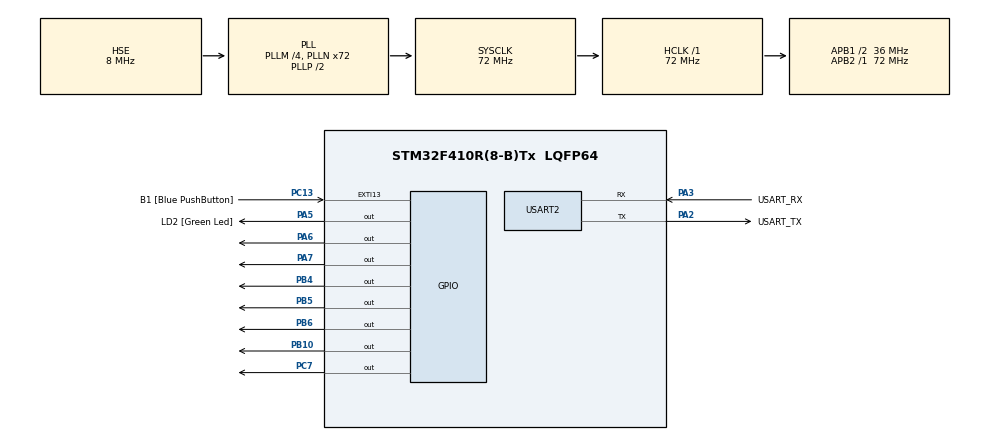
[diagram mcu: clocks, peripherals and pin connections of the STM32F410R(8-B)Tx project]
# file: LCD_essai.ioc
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Mcu.Family=STM32F4
Mcu.Name=STM32F410R(8-B)Tx
Mcu.Package=LQFP64
NVIC.EXTI15_10_IRQn=true\:0\:0\:false\:false\:true\:true\:true
NVIC.PriorityGroup=NVIC_PRIORITYGROUP_0
NVIC.TIM5_IRQn=true\:0\:0\:false\:false\:true\:true\:true
PA13.GPIO_Label=TMS
PA13.Mode=Serial_Wire
PA13.Signal=SYS_JTMS-SWDIO
PA14.GPIO_Label=TCK
PA14.Mode=Serial_Wire
PA14.Signal=SYS_JTCK-SWCLK
PA2.GPIO_Label=USART_TX
PA2.Mode=Asynchronous
PA2.Signal=USART2_TX
PA3.GPIO_Label=USART_RX
PA3.Mode=Asynchronous
PA3.Signal=USART2_RX
PA5.GPIO_Label=LD2 [Green Led]
PA5.Signal=GPIO_Output
PA6.PinState=GPIO_PIN_RESET
PA6.Signal=GPIO_Output
PA7.PinState=GPIO_PIN_RESET
PA7.Signal=GPIO_Output
PB10.PinState=GPIO_PIN_RESET
PB10.Signal=GPIO_Output
PB3.GPIO_Label=SWO
PB3.Signal=SYS_JTDO-SWO
PB4.PinState=GPIO_PIN_RESET
PB4.Signal=GPIO_Output
PB5.PinState=GPIO_PIN_RESET
PB5.Signal=GPIO_Output
PB6.PinState=GPIO_PIN_RESET
PB6.Signal=GPIO_Output
PC13-ANTI_TAMP.GPIO_Label=B1 [Blue PushButton]
PC13-ANTI_TAMP.GPIO_ModeDefaultEXTI=GPIO_MODE_IT_FALLING
PC13-ANTI_TAMP.Signal=GPXTI13
PC14-OSC32_IN.Mode=LSE-External-Oscillator
PC14-OSC32_IN.Signal=RCC_OSC32_IN
PC15-OSC32_OUT.Mode=LSE-External-Oscillator
PC15-OSC32_OUT.Signal=RCC_OSC32_OUT
PC7.PinState=GPIO_PIN_RESET
PC7.Signal=GPIO_Output
PH0\ -\ OSC_IN.Mode=HSE-External-Clock-Source
PH0\ -\ OSC_IN.Signal=RCC_OSC_IN
PH1\ -\ OSC_OUT.Mode=HSE-External-Clock-Source
PH1\ -\ OSC_OUT.Signal=RCC_OSC_OUT
ProjectManager.HeapSize=0x200
ProjectManager.StackSize=0x400
ProjectManager.TargetToolchain=MDK-ARM V5
RCC.48MHZClocksFreq_Value=36000000
RCC.AHBFreq_Value=72000000
RCC.APB1CLKDivider=RCC_HCLK_DIV2
RCC.APB1Freq_Value=36000000
RCC.APB1TimFreq_Value=72000000
RCC.APB2Freq_Value=72000000
RCC.APB2TimFreq_Value=72000000
RCC.CortexFreq_Value=72000000
RCC.FLatency-AdvancedSettings=FLASH_LATENCY_2
RCC.HCLKFreq_Value=72000000
RCC.HSE_VALUE=8000000
RCC.HSI_VALUE=16000000
RCC.PLLM=4
RCC.PLLN=72
RCC.PLLSourceVirtual=RCC_PLLSOURCE_HSE
RCC.SYSCLKFreq_VALUE=72000000
RCC.SYSCLKSource=RCC_SYSCLKSOURCE_PLLCLK
RCC.VCOOutputFreq_Value=144000000
TIM5.Period=65535
TIM5.Prescaler=71
USART2.VirtualMode=VM_ASYNC
VP_TIM5_VS_ClockSourceINT.Mode=Internal
board=NUCLEO-F410RB

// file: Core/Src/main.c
/* USER CODE BEGIN Header */
/**
  ******************************************************************************
  * @file           : main.c
  * @brief          : Main program body
  ******************************************************************************
  * @attention
  *
  * <h2><center>&copy; Copyright (c) 2021 STMicroelectronics.
  * All rights reserved.</center></h2>
  *
  * This software component is licensed by ST under BSD 3-Clause license,
  * the "License"; You may not use this file except in compliance with the
  * License. You may obtain a copy of the License at:
  *                        opensource.org/licenses/BSD-3-Clause
  *
  ******************************************************************************
  */
/* USER CODE END Header */
#include "main.h"

/* USER CODE BEGIN Includes */
#include "LCD1602.h"
#include <string.h>
#include <stdio.h>

/* USER CODE END Includes */

TIM_HandleTypeDef htim5;

UART_HandleTypeDef huart2;

void SystemClock_Config(void);
static void MX_GPIO_Init(void);
static void MX_USART2_UART_Init(void);
static void MX_TIM5_Init(void);

/* USER CODE BEGIN 0 */
int row=0;
int col=0;

/* USER CODE END 0 */

int main(void)
{
  /* USER CODE BEGIN 1 */
char *string;
	string="hello";
  /* USER CODE END 1 */

  /* MCU Configuration--------------------------------------------------------*/

  /* Reset of all peripherals, Initializes the Flash interface and the Systick. */
  HAL_Init();

  /* Configure the system clock */
  SystemClock_Config();

  /* Initialize all configured peripherals */
  MX_GPIO_Init();
  MX_USART2_UART_Init();
  MX_TIM5_Init();
  /* USER CODE BEGIN 2 */
   HAL_TIM_Base_Start(&htim5);
  printf("hellolcd\n");
	HAL_Delay(1000);
  lcd_init ();
  lcd_put_cur(0, 0);
	printf("hayae5dem\n");
  lcd_send_string(string);
  //lcd_send_string("WORLD ");
  //lcd_send_string("FROM");
	printf("byelcd\n");

  //lcd_put_cur(1, 0);
  //lcd_send_string("CONTROLLERS TECH");
  //HAL_Delay(3000);
  lcd_clear();
  /* USER CODE END 2 */

  /* Infinite loop */
  while (1)
  {
printf("while\n");
    /* USER CODE BEGIN 3 */
		 for (int i=0;i<128;i++)
	  {
		  lcd_put_cur(row, col);

		  lcd_send_data(i+48);

		  col++;

		  if (col > 15) {row++; col = 0;}
		  if (row > 1) row=0;

		  HAL_Delay(250);
	  }
  }
  /* USER CODE END 3 */
}

void SystemClock_Config(void)
{
  RCC_OscInitTypeDef RCC_OscInitStruct = {0};
  RCC_ClkInitTypeDef RCC_ClkInitStruct = {0};

  /** Configure the main internal regulator output voltage
  */
  __HAL_RCC_PWR_CLK_ENABLE();
  __HAL_PWR_VOLTAGESCALING_CONFIG(PWR_REGULATOR_VOLTAGE_SCALE1);
  /** Initializes the RCC Oscillators according to the specified parameters
  * in the RCC_OscInitTypeDef structure.
  */
  RCC_OscInitStruct.OscillatorType = RCC_OSCILLATORTYPE_HSE;
  RCC_OscInitStruct.HSEState = RCC_HSE_BYPASS;
  RCC_OscInitStruct.PLL.PLLState = RCC_PLL_ON;
  RCC_OscInitStruct.PLL.PLLSource = RCC_PLLSOURCE_HSE;
  RCC_OscInitStruct.PLL.PLLM = 4;
  RCC_OscInitStruct.PLL.PLLN = 72;
  RCC_OscInitStruct.PLL.PLLP = RCC_PLLP_DIV2;
  RCC_OscInitStruct.PLL.PLLQ = 4;
  RCC_OscInitStruct.PLL.PLLR = 2;
  if (HAL_RCC_OscConfig(&RCC_OscInitStruct) != HAL_OK)
  {
    Error_Handler();
  }
  /** Initializes the CPU, AHB and APB buses clocks
  */
  RCC_ClkInitStruct.ClockType = RCC_CLOCKTYPE_HCLK|RCC_CLOCKTYPE_SYSCLK
                              |RCC_CLOCKTYPE_PCLK1|RCC_CLOCKTYPE_PCLK2;
  RCC_ClkInitStruct.SYSCLKSource = RCC_SYSCLKSOURCE_PLLCLK;
  RCC_ClkInitStruct.AHBCLKDivider = RCC_SYSCLK_DIV1;
  RCC_ClkInitStruct.APB1CLKDivider = RCC_HCLK_DIV2;
  RCC_ClkInitStruct.APB2CLKDivider = RCC_HCLK_DIV1;

  if (HAL_RCC_ClockConfig(&RCC_ClkInitStruct, FLASH_LATENCY_2) != HAL_OK)
  {
    Error_Handler();
  }
}

static void MX_TIM5_Init(void)
{

  TIM_ClockConfigTypeDef sClockSourceConfig = {0};
  TIM_MasterConfigTypeDef sMasterConfig = {0};

  htim5.Instance = TIM5;
  htim5.Init.Prescaler = 71;
  htim5.Init.CounterMode = TIM_COUNTERMODE_UP;
  htim5.Init.Period = 65535;
  htim5.Init.ClockDivision = TIM_CLOCKDIVISION_DIV1;
  htim5.Init.AutoReloadPreload = TIM_AUTORELOAD_PRELOAD_DISABLE;
  if (HAL_TIM_Base_Init(&htim5) != HAL_OK)
  {
    Error_Handler();
  }
  sClockSourceConfig.ClockSource = TIM_CLOCKSOURCE_INTERNAL;
  if (HAL_TIM_ConfigClockSource(&htim5, &sClockSourceConfig) != HAL_OK)
  {
    Error_Handler();
  }
  sMasterConfig.MasterOutputTrigger = TIM_TRGO_RESET;
  sMasterConfig.MasterSlaveMode = TIM_MASTERSLAVEMODE_DISABLE;
  if (HAL_TIMEx_MasterConfigSynchronization(&htim5, &sMasterConfig) != HAL_OK)
  {
    Error_Handler();
  }

}

static void MX_USART2_UART_Init(void)
{

  huart2.Instance = USART2;
  huart2.Init.BaudRate = 115200;
  huart2.Init.WordLength = UART_WORDLENGTH_8B;
  huart2.Init.StopBits = UART_STOPBITS_1;
  huart2.Init.Parity = UART_PARITY_NONE;
  huart2.Init.Mode = UART_MODE_TX_RX;
  huart2.Init.HwFlowCtl = UART_HWCONTROL_NONE;
  huart2.Init.OverSampling = UART_OVERSAMPLING_16;
  if (HAL_UART_Init(&huart2) != HAL_OK)
  {
    Error_Handler();
  }

}

static void MX_GPIO_Init(void)
{
  GPIO_InitTypeDef GPIO_InitStruct = {0};

  /* GPIO Ports Clock Enable */
  __HAL_RCC_GPIOC_CLK_ENABLE();
  __HAL_RCC_GPIOH_CLK_ENABLE();
  __HAL_RCC_GPIOA_CLK_ENABLE();
  __HAL_RCC_GPIOB_CLK_ENABLE();

  /*Configure GPIO pin Output Level */
  HAL_GPIO_WritePin(GPIOA, LD2_Pin|GPIO_PIN_6|GPIO_PIN_7, GPIO_PIN_RESET);

  /*Configure GPIO pin Output Level */
  HAL_GPIO_WritePin(GPIOB, GPIO_PIN_10|GPIO_PIN_4|GPIO_PIN_5|GPIO_PIN_6, GPIO_PIN_RESET);

  /*Configure GPIO pin Output Level */
  HAL_GPIO_WritePin(GPIOC, GPIO_PIN_7, GPIO_PIN_RESET);

  /*Configure GPIO pin : B1_Pin */
  GPIO_InitStruct.Pin = B1_Pin;
  GPIO_InitStruct.Mode = GPIO_MODE_IT_FALLING;
  GPIO_InitStruct.Pull = GPIO_NOPULL;
  HAL_GPIO_Init(B1_GPIO_Port, &GPIO_InitStruct);

  /*Configure GPIO pins : LD2_Pin PA6 PA7 */
  GPIO_InitStruct.Pin = LD2_Pin|GPIO_PIN_6|GPIO_PIN_7;

  GPIO_InitStruct.Mode = GPIO_MODE_OUTPUT_PP;
  GPIO_InitStruct.Pull = GPIO_NOPULL;
  GPIO_InitStruct.Speed = GPIO_SPEED_FREQ_LOW;
  HAL_GPIO_Init(GPIOA, &GPIO_InitStruct);

  /*Configure GPIO pins : PB10 PB4 PB5 PB6 */
  GPIO_InitStruct.Pin = GPIO_PIN_10|GPIO_PIN_4|GPIO_PIN_5|GPIO_PIN_6;
  GPIO_InitStruct.Mode = GPIO_MODE_OUTPUT_PP;
  GPIO_InitStruct.Pull = GPIO_NOPULL;
  GPIO_InitStruct.Speed = GPIO_SPEED_FREQ_LOW;
  HAL_GPIO_Init(GPIOB, &GPIO_InitStruct);

  /*Configure GPIO pin : PC7 */
  GPIO_InitStruct.Pin = GPIO_PIN_7;
  GPIO_InitStruct.Mode = GPIO_MODE_OUTPUT_PP;
  GPIO_InitStruct.Pull = GPIO_NOPULL;
  GPIO_InitStruct.Speed = GPIO_SPEED_FREQ_LOW;
  HAL_GPIO_Init(GPIOC, &GPIO_InitStruct);

  /* EXTI interrupt init*/
  HAL_NVIC_SetPriority(EXTI15_10_IRQn, 0, 0);
  HAL_NVIC_EnableIRQ(EXTI15_10_IRQn);

}

void Error_Handler(void)
{
}

/************************ (C) COPYRIGHT STMicroelectronics *****END OF FILE****/
